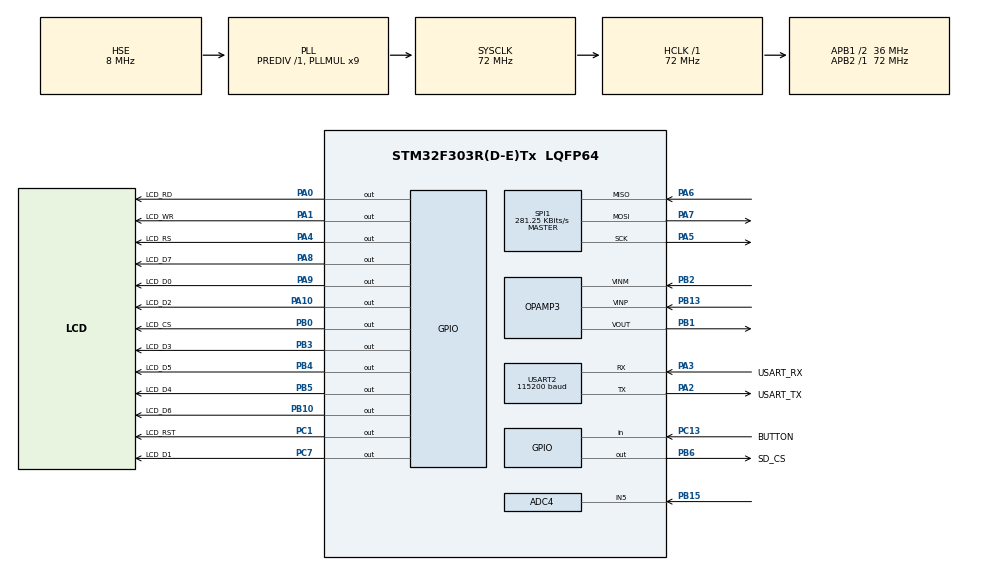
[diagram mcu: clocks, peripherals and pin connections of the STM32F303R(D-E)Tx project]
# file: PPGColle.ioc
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ADC4.Channel-0\#ChannelRegularConversion=ADC_CHANNEL_5
ADC4.NbrOfConversionFlag=1
ADC4.Offset-0\#ChannelRegularConversion=0
ADC4.OffsetNumber-0\#ChannelRegularConversion=ADC_OFFSET_NONE
ADC4.Rank-0\#ChannelRegularConversion=1
ADC4.SamplingTime-0\#ChannelRegularConversion=ADC_SAMPLETIME_1CYCLE_5
Mcu.Family=STM32F3
Mcu.Name=STM32F303R(D-E)Tx
Mcu.Package=LQFP64
NVIC.PriorityGroup=NVIC_PRIORITYGROUP_0
OPAMP3.PgaGain=OPAMP_PGA_GAIN_2
OPAMP3.UserTrimming=OPAMP_TRIMMING_FACTORY
PA0.GPIO_Label=LCD_RD
PA0.GPIO_ModeDefaultOutputPP=GPIO_MODE_OUTPUT_PP
PA0.GPIO_PuPd=GPIO_NOPULL
PA0.GPIO_Speed=GPIO_SPEED_FREQ_HIGH
PA0.PinState=GPIO_PIN_SET
PA0.Signal=GPIO_Output
PA1.GPIO_Label=LCD_WR
PA1.GPIO_ModeDefaultOutputPP=GPIO_MODE_OUTPUT_PP
PA1.GPIO_PuPd=GPIO_NOPULL
PA1.GPIO_Speed=GPIO_SPEED_FREQ_HIGH
PA1.PinState=GPIO_PIN_SET
PA1.Signal=GPIO_Output
PA10.GPIO_Label=LCD_D2
PA10.GPIO_ModeDefaultOutputPP=GPIO_MODE_OUTPUT_PP
PA10.GPIO_PuPd=GPIO_NOPULL
PA10.GPIO_Speed=GPIO_SPEED_FREQ_HIGH
PA10.PinState=GPIO_PIN_SET
PA10.Signal=GPIO_Output
PA13.GPIO_Label=TMS
PA13.Mode=Serial_Wire
PA13.Signal=SYS_JTMS-SWDIO
PA14.GPIO_Label=TCK
PA14.Mode=Serial_Wire
PA14.Signal=SYS_JTCK-SWCLK
PA2.GPIO_Label=USART_TX
PA2.GPIO_Mode=GPIO_MODE_AF_PP
PA2.GPIO_PuPd=GPIO_NOPULL
PA2.GPIO_Speed=GPIO_SPEED_FREQ_LOW
PA2.Mode=Asynchronous
PA2.Signal=USART2_TX
PA3.GPIO_Label=USART_RX
PA3.GPIO_Mode=GPIO_MODE_AF_PP
PA3.GPIO_PuPd=GPIO_NOPULL
PA3.GPIO_Speed=GPIO_SPEED_FREQ_LOW
PA3.Mode=Asynchronous
PA3.Signal=USART2_RX
PA4.GPIO_Label=LCD_RS
PA4.GPIO_ModeDefaultOutputPP=GPIO_MODE_OUTPUT_PP
PA4.GPIO_PuPd=GPIO_NOPULL
PA4.GPIO_Speed=GPIO_SPEED_FREQ_HIGH
PA4.PinState=GPIO_PIN_SET
PA4.Signal=GPIO_Output
PA5.Mode=Full_Duplex_Master
PA5.Signal=SPI1_SCK
PA6.Mode=Full_Duplex_Master
PA6.Signal=SPI1_MISO
PA7.Mode=Full_Duplex_Master
PA7.Signal=SPI1_MOSI
PA8.GPIO_Label=LCD_D7
PA8.GPIO_ModeDefaultOutputPP=GPIO_MODE_OUTPUT_PP
PA8.GPIO_PuPd=GPIO_NOPULL
PA8.GPIO_Speed=GPIO_SPEED_FREQ_HIGH
PA8.PinState=GPIO_PIN_SET
PA8.Signal=GPIO_Output
PA9.GPIO_Label=LCD_D0
PA9.GPIO_ModeDefaultOutputPP=GPIO_MODE_OUTPUT_PP
PA9.GPIO_PuPd=GPIO_NOPULL
PA9.GPIO_Speed=GPIO_SPEED_FREQ_HIGH
PA9.PinState=GPIO_PIN_SET
PA9.Signal=GPIO_Output
PB0.GPIO_Label=LCD_CS
PB0.GPIO_ModeDefaultOutputPP=GPIO_MODE_OUTPUT_PP
PB0.GPIO_PuPd=GPIO_NOPULL
PB0.GPIO_Speed=GPIO_SPEED_FREQ_HIGH
PB0.PinState=GPIO_PIN_SET
PB0.Signal=GPIO_Output
PB1.Mode=PGA Connected
PB1.Signal=OPAMP3_VOUT
PB10.GPIO_Label=LCD_D6
PB10.GPIO_ModeDefaultOutputPP=GPIO_MODE_OUTPUT_PP
PB10.GPIO_PuPd=GPIO_NOPULL
PB10.GPIO_Speed=GPIO_SPEED_FREQ_HIGH
PB10.PinState=GPIO_PIN_SET
PB10.Signal=GPIO_Output
PB13.Mode=PGA Connected
PB13.Signal=OPAMP3_VINP
PB15.Mode=IN5-Single-Ended
PB15.Signal=ADC4_IN5
PB2.Mode=PGA Connected
PB2.Signal=OPAMP3_VINM
PB3.GPIO_Label=LCD_D3
PB3.GPIO_ModeDefaultOutputPP=GPIO_MODE_OUTPUT_PP
PB3.GPIO_PuPd=GPIO_NOPULL
PB3.GPIO_Speed=GPIO_SPEED_FREQ_HIGH
PB3.PinState=GPIO_PIN_SET
PB3.Signal=GPIO_Output
PB4.GPIO_Label=LCD_D5
PB4.GPIO_ModeDefaultOutputPP=GPIO_MODE_OUTPUT_PP
PB4.GPIO_PuPd=GPIO_NOPULL
PB4.GPIO_Speed=GPIO_SPEED_FREQ_HIGH
PB4.PinState=GPIO_PIN_SET
PB4.Signal=GPIO_Output
PB5.GPIO_Label=LCD_D4
PB5.GPIO_ModeDefaultOutputPP=GPIO_MODE_OUTPUT_PP
PB5.GPIO_PuPd=GPIO_NOPULL
PB5.GPIO_Speed=GPIO_SPEED_FREQ_HIGH
PB5.PinState=GPIO_PIN_SET
PB5.Signal=GPIO_Output
PB6.GPIO_FM6=__NULL
PB6.GPIO_Label=SD_CS
PB6.GPIO_Speed=GPIO_SPEED_FREQ_HIGH
PB6.PinState=GPIO_PIN_SET
PB6.Signal=GPIO_Output
PC1.GPIO_Label=LCD_RST
PC1.GPIO_ModeDefaultOutputPP=GPIO_MODE_OUTPUT_PP
PC1.GPIO_PuPd=GPIO_NOPULL
PC1.GPIO_Speed=GPIO_SPEED_FREQ_HIGH
PC1.PinState=GPIO_PIN_SET
PC1.Signal=GPIO_Output
PC13.GPIO_Label=BUTTON
PC13.GPIO_PuPd=GPIO_PULLUP
PC13.Signal=GPIO_Input
PC14-OSC32_IN.Mode=LSE-External-Oscillator
PC14-OSC32_IN.Signal=RCC_OSC32_IN
PC15-OSC32_OUT.Mode=LSE-External-Oscillator
PC15-OSC32_OUT.Signal=RCC_OSC32_OUT
PC7.GPIO_Label=LCD_D1
PC7.GPIO_ModeDefaultOutputPP=GPIO_MODE_OUTPUT_PP
PC7.GPIO_PuPd=GPIO_NOPULL
PC7.GPIO_Speed=GPIO_SPEED_FREQ_HIGH
PC7.PinState=GPIO_PIN_SET
PC7.Signal=GPIO_Output
PF0-OSC_IN.Mode=HSE-External-Oscillator
PF0-OSC_IN.Signal=RCC_OSC_IN
PF1-OSC_OUT.Mode=HSE-External-Oscillator
PF1-OSC_OUT.Signal=RCC_OSC_OUT
ProjectManager.HeapSize=0x200
ProjectManager.StackSize=0x400
ProjectManager.TargetToolchain=SW4STM32
RCC.AHBFreq_Value=72000000
RCC.APB1CLKDivider=RCC_HCLK_DIV2
RCC.APB1Freq_Value=36000000
RCC.APB1TimFreq_Value=72000000
RCC.APB2Freq_Value=72000000
RCC.APB2TimFreq_Value=72000000
RCC.CortexFreq_Value=72000000
RCC.EnbaleCSS=true
RCC.HCLKFreq_Value=72000000
RCC.HSE_VALUE=8000000
RCC.HSI_VALUE=8000000
RCC.PLLM=8
RCC.PLLMUL=RCC_PLL_MUL9
RCC.PLLN=336
RCC.PLLP=RCC_PLLP_DIV4
RCC.PLLQ=7
RCC.PLLSourceVirtual=RCC_PLLSOURCE_HSE
RCC.RCC_PLLsource_Clock_Source_FROM_HSE=RCC_HSE_PREDIV_DIV2
RCC.SYSCLKFreq_VALUE=72000000
RCC.SYSCLKSourceVirtual=RCC_SYSCLKSOURCE_PLLCLK
RCC.USBFreq_Value=72000000
SPI1.BaudRatePrescaler=SPI_BAUDRATEPRESCALER_256
SPI1.CLKPhase=SPI_PHASE_2EDGE
SPI1.CLKPolarity=SPI_POLARITY_HIGH
SPI1.CalculateBaudRate=281.25 KBits/s
SPI1.DataSize=SPI_DATASIZE_8BIT
SPI1.Direction=SPI_DIRECTION_2LINES
SPI1.Mode=SPI_MODE_MASTER
SPI1.VirtualType=VM_MASTER
USART2.BaudRate=115200
USART2.VirtualMode-Asynchronous=VM_ASYNC
USART2.WordLength=WORDLENGTH_8B
VP_FATFS_VS_Generic.Mode=User_defined
board=NUCLEO-F303RE

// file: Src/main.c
/**
  ******************************************************************************
  * File Name          : main.c
  * Description        : Main program body
  ******************************************************************************
  * This notice applies to any and all portions of this file
  * that are not between comment pairs USER CODE BEGIN and
  * USER CODE END. Other portions of this file, whether
  * inserted by the user or by software development tools
  * are owned by their respective copyright owners.
  *
  * Copyright (c) 2018 STMicroelectronics International N.V.
  * All rights reserved.
  *
  * Redistribution and use in source and binary forms, with or without
  * modification, are permitted, provided that the following conditions are met:
  *
  * 1. Redistribution of source code must retain the above copyright notice,
  *    this list of conditions and the following disclaimer.
  * 2. Redistributions in binary form must reproduce the above copyright notice,
  *    this list of conditions and the following disclaimer in the documentation
  *    and/or other materials provided with the distribution.
  * 3. Neither the name of STMicroelectronics nor the names of other
  *    contributors to this software may be used to endorse or promote products
  *    derived from this software without specific written permission.
  * 4. This software, including modifications and/or derivative works of this
  *    software, must execute solely and exclusively on microcontroller or
  *    microprocessor devices manufactured by or for STMicroelectronics.
  * 5. Redistribution and use of this software other than as permitted under
  *    this license is void and will automatically terminate your rights under
  *    this license.
  *
  * THIS SOFTWARE IS PROVIDED BY STMICROELECTRONICS AND CONTRIBUTORS "AS IS"
  * AND ANY EXPRESS, IMPLIED OR STATUTORY WARRANTIES, INCLUDING, BUT NOT
  * LIMITED TO, THE IMPLIED WARRANTIES OF MERCHANTABILITY, FITNESS FOR A
  * PARTICULAR PURPOSE AND NON-INFRINGEMENT OF THIRD PARTY INTELLECTUAL PROPERTY
  * RIGHTS ARE DISCLAIMED TO THE FULLEST EXTENT PERMITTED BY LAW. IN NO EVENT
  * SHALL STMICROELECTRONICS OR CONTRIBUTORS BE LIABLE FOR ANY DIRECT, INDIRECT,
  * INCIDENTAL, SPECIAL, EXEMPLARY, OR CONSEQUENTIAL DAMAGES (INCLUDING, BUT NOT
  * LIMITED TO, PROCUREMENT OF SUBSTITUTE GOODS OR SERVICES; LOSS OF USE, DATA,
  * OR PROFITS; OR BUSINESS INTERRUPTION) HOWEVER CAUSED AND ON ANY THEORY OF
  * LIABILITY, WHETHER IN CONTRACT, STRICT LIABILITY, OR TORT (INCLUDING
  * NEGLIGENCE OR OTHERWISE) ARISING IN ANY WAY OUT OF THE USE OF THIS SOFTWARE,
  * EVEN IF ADVISED OF THE POSSIBILITY OF SUCH DAMAGE.
  *
  ******************************************************************************
  */

#include "main.h"
#include "stm32f3xx_hal.h"
#include "fatfs.h"

/* USER CODE BEGIN Includes */
#define PPGCOLLE_VERSION "180117"

#include <malloc.h>
#include <string.h>

#include "lcd.h"
#include "sd.h"
#include "logo.h"
/* USER CODE END Includes */

ADC_HandleTypeDef hadc4;

OPAMP_HandleTypeDef hopamp3;

SPI_HandleTypeDef hspi1;

UART_HandleTypeDef huart2;

/* USER CODE BEGIN PV */
/* Private variables ---------------------------------------------------------*/
LCD* lcd;
SD* sd;
pIO rd = { LCD_RD_GPIO_Port, LCD_RD_Pin },
	wr = { LCD_WR_GPIO_Port, LCD_WR_Pin },
	rs = { LCD_RS_GPIO_Port, LCD_RS_Pin },
	cs = { LCD_CS_GPIO_Port, LCD_CS_Pin },
	rst = { LCD_RST_GPIO_Port, LCD_RST_Pin };
pIO data[8] = {
	{ LCD_D0_GPIO_Port, LCD_D0_Pin }, { LCD_D1_GPIO_Port, LCD_D1_Pin },
	{ LCD_D2_GPIO_Port, LCD_D2_Pin }, { LCD_D3_GPIO_Port, LCD_D3_Pin },
	{ LCD_D4_GPIO_Port, LCD_D4_Pin }, { LCD_D5_GPIO_Port, LCD_D5_Pin },
	{ LCD_D6_GPIO_Port, LCD_D6_Pin }, { LCD_D7_GPIO_Port, LCD_D7_Pin }
};
FATFS fileSystem;
uint8_t FS_OK = 0;
/* USER CODE END PV */

void SystemClock_Config(void);
static void MX_GPIO_Init(void);
static void MX_USART2_UART_Init(void);
static void MX_SPI1_Init(void);
static void MX_OPAMP3_Init(void);
static void MX_ADC4_Init(void);

/* USER CODE BEGIN PFP */
/* Private function prototypes -----------------------------------------------*/

/* USER CODE END PFP */

/* USER CODE BEGIN 0 */
void spi1Init(char isHighSpeedMode) {
	hspi1.Instance = SPI1;
	hspi1.Init.Mode = SPI_MODE_MASTER;
	hspi1.Init.Direction = SPI_DIRECTION_2LINES;
	hspi1.Init.DataSize = SPI_DATASIZE_8BIT;
	hspi1.Init.CLKPolarity = SPI_POLARITY_HIGH;
	hspi1.Init.CLKPhase = SPI_PHASE_2EDGE;
	hspi1.Init.NSS = SPI_NSS_SOFT;
	hspi1.Init.BaudRatePrescaler =
		isHighSpeedMode > 0 ? SPI_BAUDRATEPRESCALER_4 : SPI_BAUDRATEPRESCALER_256;
	hspi1.Init.FirstBit = SPI_FIRSTBIT_MSB;
	hspi1.Init.TIMode = SPI_TIMODE_DISABLE;
	hspi1.Init.CRCCalculation = SPI_CRCCALCULATION_DISABLE;
	hspi1.Init.CRCPolynomial = 7;
	hspi1.Init.CRCLength = SPI_CRC_LENGTH_DATASIZE;
	hspi1.Init.NSSPMode = SPI_NSS_PULSE_DISABLE;
	HAL_SPI_Init(&hspi1);
}
/* USER CODE END 0 */

int main(void)
{

  /* MCU Configuration----------------------------------------------------------*/

  /* Reset of all peripherals, Initializes the Flash interface and the Systick. */
  HAL_Init();

  /* USER CODE BEGIN Init */
	lcd = LCDInit(&rd, &wr, &rs, &cs, &rst, data);
	sd = SDInit(&hspi1, SD_CS_GPIO_Port, SD_CS_Pin);
  /* USER CODE END Init */

  /* Configure the system clock */
  SystemClock_Config();

  /* Initialize all configured peripherals */
  MX_GPIO_Init();
  MX_USART2_UART_Init();
  MX_SPI1_Init();
  MX_OPAMP3_Init();
  MX_ADC4_Init();
  MX_FATFS_Init();

  /* USER CODE BEGIN 2 */
	lcd->init(lcd->p);
  	lcd->rotate(lcd->p, LCD_LANDSCAPE);
  	lcd->font(lcd->p, Small);
  	lcd->colorb(lcd->p, 0xFFFFFF);
  	lcd->colorf(lcd->p, 0x000000);
  	lcd->clear(lcd->p);

  	lcd->bitmapsc(lcd->p, lcd->p->width / 2, 140, 64, 64, __NYAGAME_LOGO_);
  	lcd->printfc(lcd->p, 180, "nyagame vita");
  	HAL_Delay(1000);

  	lcd->clear(lcd->p);

  	lcd->printfa(lcd->p, "PPGCollector Factory System\n");
	lcd->printfa(lcd->p, "Version: %s\n\n", PPGCOLLE_VERSION);

  	uint8_t result = 0;
	result = sd->init(sd->p);
	uint32_t size = sd->size(sd->p);
	if (result == 0) {
		lcd->printfa(lcd->p, "init SD card... OK, %d MB\n", size / 2048);
	} else {
		lcd->printfa(lcd->p, "init SD card... ERR: %d\n", result);
	}

	result = 0;
	lcd->printfa(lcd->p, "mount SD card...\n");
	f_mount(&fileSystem, USERPath, 1);
	result = f_mount(&fileSystem, USERPath, 1);
	if(result == FR_OK) {
		char path[] = "BOARD_INFO.TXT";
		FIL boardInfo;
		f_open(&boardInfo, path, FA_WRITE | FA_CREATE_ALWAYS);
		f_printf(&boardInfo, "PPGCollector with STM32F303\n");
		f_printf(&boardInfo, "by drzzm32\n");
		f_printf(&boardInfo, "Firmware version: %s\n", PPGCOLLE_VERSION);
		f_close(&boardInfo);
		lcd->printfa(lcd->p, "test SD card... OK\n");
		FS_OK = 1;
	} else {
		lcd->printfa(lcd->p, "test SD card... ERR: %02X\n", result);
		FS_OK = 0;
	}

	lcd->printfa(lcd->p, "\n\n");

  	lcd->printfa(lcd->p, "process finished.\n");
  /* USER CODE END 2 */

  /* Infinite loop */
  while (1)
  {

  }

}

/** System Clock Configuration
*/
void SystemClock_Config(void)
{

  RCC_OscInitTypeDef RCC_OscInitStruct;
  RCC_ClkInitTypeDef RCC_ClkInitStruct;
  RCC_PeriphCLKInitTypeDef PeriphClkInit;

    /**Initializes the CPU, AHB and APB busses clocks
    */
  RCC_OscInitStruct.OscillatorType = RCC_OSCILLATORTYPE_HSE;
  RCC_OscInitStruct.HSEState = RCC_HSE_ON;
  RCC_OscInitStruct.HSIState = RCC_HSI_ON;
  RCC_OscInitStruct.PLL.PLLState = RCC_PLL_ON;
  RCC_OscInitStruct.PLL.PLLSource = RCC_PLLSOURCE_HSE;
  RCC_OscInitStruct.PLL.PLLMUL = RCC_PLL_MUL9;
  RCC_OscInitStruct.PLL.PREDIV = RCC_PREDIV_DIV1;
  if (HAL_RCC_OscConfig(&RCC_OscInitStruct) != HAL_OK)
  {
    _Error_Handler(__FILE__, __LINE__);
  }

    /**Initializes the CPU, AHB and APB busses clocks
    */
  RCC_ClkInitStruct.ClockType = RCC_CLOCKTYPE_HCLK|RCC_CLOCKTYPE_SYSCLK
                              |RCC_CLOCKTYPE_PCLK1|RCC_CLOCKTYPE_PCLK2;
  RCC_ClkInitStruct.SYSCLKSource = RCC_SYSCLKSOURCE_PLLCLK;
  RCC_ClkInitStruct.AHBCLKDivider = RCC_SYSCLK_DIV1;
  RCC_ClkInitStruct.APB1CLKDivider = RCC_HCLK_DIV2;
  RCC_ClkInitStruct.APB2CLKDivider = RCC_HCLK_DIV1;

  if (HAL_RCC_ClockConfig(&RCC_ClkInitStruct, FLASH_LATENCY_2) != HAL_OK)
  {
    _Error_Handler(__FILE__, __LINE__);
  }

  PeriphClkInit.PeriphClockSelection = RCC_PERIPHCLK_USART2|RCC_PERIPHCLK_ADC34;
  PeriphClkInit.Usart2ClockSelection = RCC_USART2CLKSOURCE_PCLK1;
  PeriphClkInit.Adc34ClockSelection = RCC_ADC34PLLCLK_DIV1;
  if (HAL_RCCEx_PeriphCLKConfig(&PeriphClkInit) != HAL_OK)
  {
    _Error_Handler(__FILE__, __LINE__);
  }

    /**Enables the Clock Security System
    */
  HAL_RCC_EnableCSS();

    /**Configure the Systick interrupt time
    */
  HAL_SYSTICK_Config(HAL_RCC_GetHCLKFreq()/1000);

    /**Configure the Systick
    */
  HAL_SYSTICK_CLKSourceConfig(SYSTICK_CLKSOURCE_HCLK);

  /* SysTick_IRQn interrupt configuration */
  HAL_NVIC_SetPriority(SysTick_IRQn, 0, 0);
}

/* ADC4 init function */
static void MX_ADC4_Init(void)
{

  ADC_ChannelConfTypeDef sConfig;

    /**Common config
    */
  hadc4.Instance = ADC4;
  hadc4.Init.ClockPrescaler = ADC_CLOCK_ASYNC_DIV1;
  hadc4.Init.Resolution = ADC_RESOLUTION_12B;
  hadc4.Init.ScanConvMode = ADC_SCAN_DISABLE;
  hadc4.Init.ContinuousConvMode = DISABLE;
  hadc4.Init.DiscontinuousConvMode = DISABLE;
  hadc4.Init.ExternalTrigConvEdge = ADC_EXTERNALTRIGCONVEDGE_NONE;
  hadc4.Init.ExternalTrigConv = ADC_SOFTWARE_START;
  hadc4.Init.DataAlign = ADC_DATAALIGN_RIGHT;
  hadc4.Init.NbrOfConversion = 1;
  hadc4.Init.DMAContinuousRequests = DISABLE;
  hadc4.Init.EOCSelection = ADC_EOC_SINGLE_CONV;
  hadc4.Init.LowPowerAutoWait = DISABLE;
  hadc4.Init.Overrun = ADC_OVR_DATA_OVERWRITTEN;
  if (HAL_ADC_Init(&hadc4) != HAL_OK)
  {
    _Error_Handler(__FILE__, __LINE__);
  }

    /**Configure Regular Channel
    */
  sConfig.Channel = ADC_CHANNEL_5;
  sConfig.Rank = 1;
  sConfig.SingleDiff = ADC_SINGLE_ENDED;
  sConfig.SamplingTime = ADC_SAMPLETIME_1CYCLE_5;
  sConfig.OffsetNumber = ADC_OFFSET_NONE;
  sConfig.Offset = 0;
  if (HAL_ADC_ConfigChannel(&hadc4, &sConfig) != HAL_OK)
  {
    _Error_Handler(__FILE__, __LINE__);
  }

}

/* OPAMP3 init function */
static void MX_OPAMP3_Init(void)
{

  hopamp3.Instance = OPAMP3;
  hopamp3.Init.Mode = OPAMP_PGA_MODE;
  hopamp3.Init.NonInvertingInput = OPAMP_NONINVERTINGINPUT_IO1;
  hopamp3.Init.TimerControlledMuxmode = OPAMP_TIMERCONTROLLEDMUXMODE_DISABLE;
  hopamp3.Init.PgaConnect = OPAMP_PGA_CONNECT_INVERTINGINPUT_IO1;
  hopamp3.Init.PgaGain = OPAMP_PGA_GAIN_2;
  hopamp3.Init.UserTrimming = OPAMP_TRIMMING_FACTORY;
  if (HAL_OPAMP_Init(&hopamp3) != HAL_OK)
  {
    _Error_Handler(__FILE__, __LINE__);
  }

}

/* SPI1 init function */
static void MX_SPI1_Init(void)
{

  /* SPI1 parameter configuration*/
  hspi1.Instance = SPI1;
  hspi1.Init.Mode = SPI_MODE_MASTER;
  hspi1.Init.Direction = SPI_DIRECTION_2LINES;
  hspi1.Init.DataSize = SPI_DATASIZE_8BIT;
  hspi1.Init.CLKPolarity = SPI_POLARITY_HIGH;
  hspi1.Init.CLKPhase = SPI_PHASE_2EDGE;
  hspi1.Init.NSS = SPI_NSS_SOFT;
  hspi1.Init.BaudRatePrescaler = SPI_BAUDRATEPRESCALER_256;
  hspi1.Init.FirstBit = SPI_FIRSTBIT_MSB;
  hspi1.Init.TIMode = SPI_TIMODE_DISABLE;
  hspi1.Init.CRCCalculation = SPI_CRCCALCULATION_DISABLE;
  hspi1.Init.CRCPolynomial = 7;
  hspi1.Init.CRCLength = SPI_CRC_LENGTH_DATASIZE;
  hspi1.Init.NSSPMode = SPI_NSS_PULSE_DISABLE;
  if (HAL_SPI_Init(&hspi1) != HAL_OK)
  {
    _Error_Handler(__FILE__, __LINE__);
  }

}

/* USART2 init function */
static void MX_USART2_UART_Init(void)
{

  huart2.Instance = USART2;
  huart2.Init.BaudRate = 115200;
  huart2.Init.WordLength = UART_WORDLENGTH_8B;
  huart2.Init.StopBits = UART_STOPBITS_1;
  huart2.Init.Parity = UART_PARITY_NONE;
  huart2.Init.Mode = UART_MODE_TX_RX;
  huart2.Init.HwFlowCtl = UART_HWCONTROL_NONE;
  huart2.Init.OverSampling = UART_OVERSAMPLING_16;
  huart2.Init.OneBitSampling = UART_ONE_BIT_SAMPLE_DISABLE;
  huart2.AdvancedInit.AdvFeatureInit = UART_ADVFEATURE_NO_INIT;
  if (HAL_UART_Init(&huart2) != HAL_OK)
  {
    _Error_Handler(__FILE__, __LINE__);
  }

}

/** Configure pins as
        * Analog
        * Input
        * Output
        * EVENT_OUT
        * EXTI
*/
static void MX_GPIO_Init(void)
{

  GPIO_InitTypeDef GPIO_InitStruct;

  /* GPIO Ports Clock Enable */
  __HAL_RCC_GPIOC_CLK_ENABLE();
  __HAL_RCC_GPIOF_CLK_ENABLE();
  __HAL_RCC_GPIOA_CLK_ENABLE();
  __HAL_RCC_GPIOB_CLK_ENABLE();

  /*Configure GPIO pin Output Level */
  HAL_GPIO_WritePin(GPIOC, LCD_RST_Pin|LCD_D1_Pin, GPIO_PIN_SET);

  /*Configure GPIO pin Output Level */
  HAL_GPIO_WritePin(GPIOA, LCD_RD_Pin|LCD_WR_Pin|LCD_RS_Pin|LCD_D7_Pin
                          |LCD_D0_Pin|LCD_D2_Pin, GPIO_PIN_SET);

  /*Configure GPIO pin Output Level */
  HAL_GPIO_WritePin(GPIOB, LCD_CS_Pin|LCD_D6_Pin|LCD_D3_Pin|LCD_D5_Pin
                          |LCD_D4_Pin|SD_CS_Pin, GPIO_PIN_SET);

  /*Configure GPIO pin : BUTTON_Pin */
  GPIO_InitStruct.Pin = BUTTON_Pin;
  GPIO_InitStruct.Mode = GPIO_MODE_INPUT;
  GPIO_InitStruct.Pull = GPIO_PULLUP;
  HAL_GPIO_Init(BUTTON_GPIO_Port, &GPIO_InitStruct);

  /*Configure GPIO pins : LCD_RST_Pin LCD_D1_Pin */
  GPIO_InitStruct.Pin = LCD_RST_Pin|LCD_D1_Pin;
  GPIO_InitStruct.Mode = GPIO_MODE_OUTPUT_PP;
  GPIO_InitStruct.Pull = GPIO_NOPULL;
  GPIO_InitStruct.Speed = GPIO_SPEED_FREQ_HIGH;
  HAL_GPIO_Init(GPIOC, &GPIO_InitStruct);

  /*Configure GPIO pins : LCD_RD_Pin LCD_WR_Pin LCD_RS_Pin LCD_D7_Pin
                           LCD_D0_Pin LCD_D2_Pin */
  GPIO_InitStruct.Pin = LCD_RD_Pin|LCD_WR_Pin|LCD_RS_Pin|LCD_D7_Pin
                          |LCD_D0_Pin|LCD_D2_Pin;
  GPIO_InitStruct.Mode = GPIO_MODE_OUTPUT_PP;
  GPIO_InitStruct.Pull = GPIO_NOPULL;
  GPIO_InitStruct.Speed = GPIO_SPEED_FREQ_HIGH;
  HAL_GPIO_Init(GPIOA, &GPIO_InitStruct);

  /*Configure GPIO pins : LCD_CS_Pin LCD_D6_Pin LCD_D3_Pin LCD_D5_Pin
                           LCD_D4_Pin SD_CS_Pin */
  GPIO_InitStruct.Pin = LCD_CS_Pin|LCD_D6_Pin|LCD_D3_Pin|LCD_D5_Pin
                          |LCD_D4_Pin|SD_CS_Pin;
  GPIO_InitStruct.Mode = GPIO_MODE_OUTPUT_PP;
  GPIO_InitStruct.Pull = GPIO_NOPULL;
  GPIO_InitStruct.Speed = GPIO_SPEED_FREQ_HIGH;
  HAL_GPIO_Init(GPIOB, &GPIO_InitStruct);

}

void _Error_Handler(char * file, int line)
{
  while(1)
  {
  }
}

/************************ (C) COPYRIGHT STMicroelectronics *****END OF FILE****/
